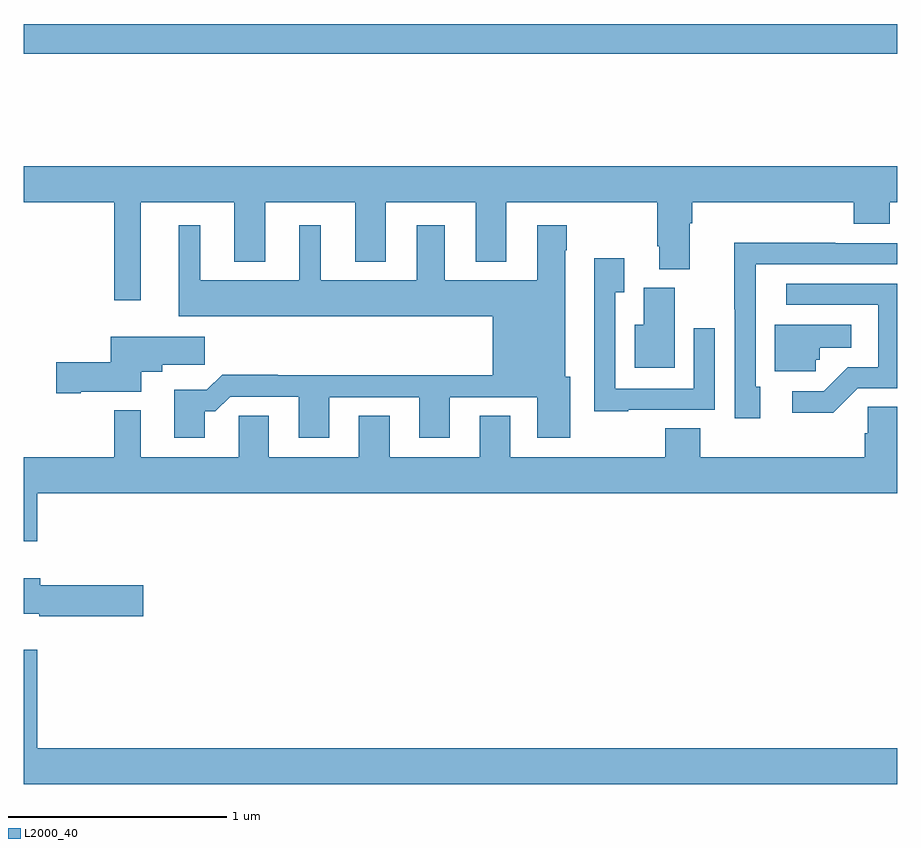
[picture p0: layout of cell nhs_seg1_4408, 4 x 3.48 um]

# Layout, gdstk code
import gdstk
lib = gdstk.Library(unit=1e-6, precision=1e-09)
def R(c, l, rs):  # rectangles x0, y0, x1, y1
    for r in rs: c.add(gdstk.rectangle(r[:2], r[2:], *l))
def P(c, l, *ps):  # polygons
    for p in ps: c.add(gdstk.Polygon(p, *l))
L2000_40 = (2000, 40)

nhs_seg1_4408 = lib.new_cell('nhs_seg1_4408')
R(nhs_seg1_4408, L2000_40, [(351,533.764,355,533.9)])
P(nhs_seg1_4408, L2000_40, [(351,533.084),(351.414,533.084),(351.414,532.635),(351.535,532.635),(351.535,533.084),(351.965,533.084),(351.965,532.811),(352.105,532.811),(352.105,533.084),(352.517,533.084),(352.517,532.811),(352.657,532.811),(352.657,533.084),(353.069,533.084),(353.069,532.811),(353.209,532.811),(353.209,533.084),(353.902,533.084),(353.902,532.882),(353.909,532.882),(353.909,532.777),(354.049,532.777),(354.049,532.988),(354.062,532.988),(354.062,533.084),(354.8,533.084),(354.8,532.985),(354.965,532.985),(354.965,533.084),(355,533.084),(355,533.248),(351,533.248)],
  [(351.829,532.127),(351.878,532.127),(351.945,532.194),(352.259,532.194),(352.259,532.005),(352.399,532.005),(352.399,532.191),(352.811,532.191),(352.811,532.005),(352.951,532.005),(352.951,532.191),(353.351,532.191),(353.351,532.005),(353.503,532.005),(353.503,532.284),(353.479,532.284),(353.479,532.865),(353.487,532.865),(353.487,532.978),(353.351,532.978),(353.351,532.726),(352.927,532.726),(352.927,532.978),(352.799,532.978),(352.799,532.726),(352.36,532.726),(352.36,532.978),(352.262,532.978),(352.262,532.726),(351.808,532.726),(351.808,532.978),(351.71,532.978),(351.71,532.562),(353.147,532.562),(353.147,532.292),(352.163,532.292),(352.163,532.295),(351.908,532.295),(351.838,532.225),(351.689,532.225),(351.689,532.005),(351.829,532.005)],
  [(354.373,532.239),(354.351,532.239),(354.351,532.8),(355,532.8),(355,532.896),(354.716,532.896),(354.716,532.898),(354.254,532.898),(354.254,532.594),(354.255,532.594),(354.255,532.095),(354.373,532.095)],
  [(353.769,532.134),(354.165,532.134),(354.165,532.507),(354.069,532.507),(354.069,532.23),(353.709,532.23),(353.709,532.672),(353.749,532.672),(353.749,532.828),(353.612,532.828),(353.612,532.384),(353.613,532.384),(353.613,532.127),(353.769,532.127)],
  [(354.819,532.233),(355,532.233),(355,532.71),(354.492,532.71),(354.492,532.614),(354.912,532.614),(354.912,532.329),(354.774,532.329),(354.663,532.218),(354.519,532.218),(354.519,532.121),(354.706,532.121)],
  [(353.98,532.692),(353.84,532.692),(353.84,532.522),(353.798,532.522),(353.798,532.325),(353.98,532.325)],
  [(354.627,532.362),(354.645,532.362),(354.645,532.418),(354.79,532.418),(354.79,532.522),(354.44,532.522),(354.44,532.311),(354.627,532.311)],
  [(351.262,532.217),(351.538,532.217),(351.538,532.307),(351.634,532.307),(351.634,532.339),(351.829,532.339),(351.829,532.468),(351.398,532.468),(351.398,532.352),(351.15,532.352),(351.15,532.21),(351.262,532.21)],
  [(351.061,531.752),(355,531.752),(355,532.148),(354.864,532.148),(354.864,532.025),(354.851,532.025),(354.851,531.916),(354.098,531.916),(354.098,532.049),(353.938,532.049),(353.938,531.916),(353.227,531.916),(353.227,532.106),(353.087,532.106),(353.087,531.916),(352.675,531.916),(352.675,532.106),(352.535,532.106),(352.535,531.916),(352.123,531.916),(352.123,532.106),(351.984,532.106),(351.984,531.916),(351.535,531.916),(351.535,532.132),(351.414,532.132),(351.414,531.916),(351,531.916),(351,531.531),(351.061,531.531)],
  [(351.547,531.33),(351.076,531.33),(351.076,531.361),(351,531.361),(351,531.2),(351.072,531.2),(351.072,531.188),(351.547,531.188)],
  [(355,530.584),(351.061,530.584),(351.061,531.034),(351,531.034),(351,530.42),(355,530.42)])

lib.write_gds('nhs_seg1_4408.gds')
